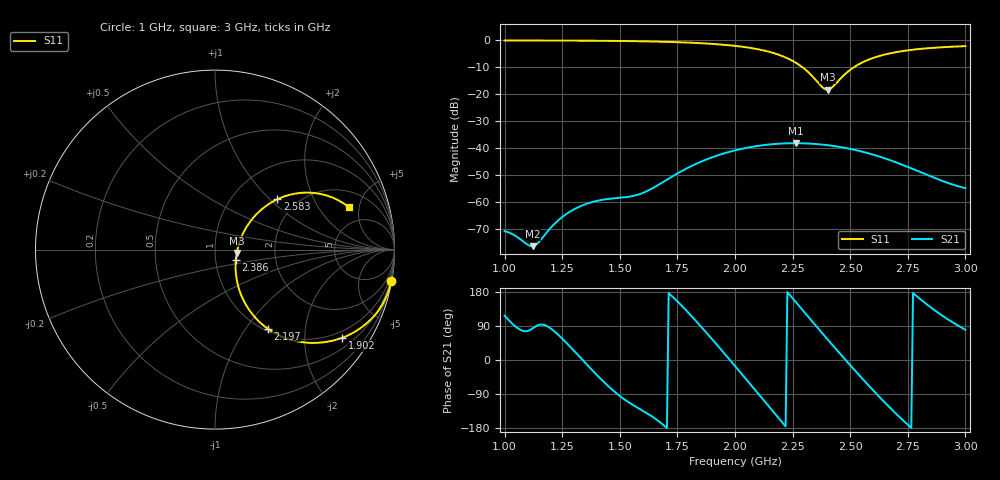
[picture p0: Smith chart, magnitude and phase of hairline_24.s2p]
! TOUCHSTONE file generated by CST MICROWAVE STUDIO
! Date and time: Tue Mar 18 20:31:45 2025
! Project name: hairline.cst
! Parameters = {B=12.5; D=160; F=25; Feed=2.85625; Fracture=2; L=100; M=50; R=0.384908; S=1.5; Theta=90; length=57.125; wave=114.25}
! Header version: 2024
! Port assignment regex: !\s*Touchstone port\s*([0-9]+)\s*=\s*(CST MWS port|CST DES external port|CST DES block port)\s*(.+)\s* \(\"(.*)\"\)(\s*mode\s*([0-9]+))?.*
! Touchstone port assignment:
! Touchstone port 1 = CST MWS port 1 ("")
! Touchstone port 2 = CST MWS port 2 ("")
# GHz S DB R 50
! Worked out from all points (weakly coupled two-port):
!   265 points, 1 GHz to 3 GHz, reference 50 ohm
!   highest |S21| = -38.09 dB at 2.265 GHz (marker M1); lowest = -76.2 dB at 1.121 GHz (marker M2)
!   lowest |S11| = -18.2 dB at 2.402 GHz (marker M3), VSWR 1.28, Z = 63.7 - j2.43 ohm
!   |S11| at or under -10 dB: 2.293 GHz to 2.515 GHz (221.7 MHz wide, 9.22 % of centre)
!   S12 and S22 are empty: the file has one direction only
!   S11 on the Smith chart (normalised r, x): 1 GHz: 0, -11; 1.902 GHz: 0.79, -3.01; 2.197 GHz: 1.04, -1.27; 2.386 GHz: 1.25, -0.14; 2.583 GHz: 1.59, +1.11; 3 GHz: 3.25, +3.95
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1  -0.02 -10.0  -70.61 116.9  -200.00 0.0  -200.00 0.0
1.12121  -0.03 -11.7  -76.23 83.2  -200.00 0.0  -200.00 0.0
1.14394  -0.04 -12.1  -75.12 91.6  -200.00 0.0  -200.00 0.0
1.24242  -0.06 -13.8  -65.96 61.1  -200.00 0.0  -200.00 0.0
1.34091  -0.10 -15.7  -61.01 -1.7  -200.00 0.0  -200.00 0.0
1.41667  -0.14 -17.3  -59.17 -49.5  -200.00 0.0  -200.00 0.0
1.56818  -0.28 -21.3  -57.41 -122.7  -200.00 0.0  -200.00 0.0
1.66667  -0.46 -24.5  -53.55 -160.5  -200.00 0.0  -200.00 0.0
1.79545  -0.80 -29.5  -47.20 126.2  -200.00 0.0  -200.00 0.0
1.90152  -1.29 -34.8  -43.28 54.3  -200.00 0.0  -200.00 0.0
2  -2.02 -40.7  -40.74 -15.8  -200.00 0.0  -200.00 0.0
2.10606  -3.38 -48.7  -39.00 -92.7  -200.00 0.0  -200.00 0.0
2.19697  -5.54 -56.3  -38.24 -158.7  -200.00 0.0  -200.00 0.0
2.26515  -8.34 -60.5  -38.09 152.0  -200.00 0.0  -200.00 0.0
2.34091  -13.74 -53.9  -38.32 97.6  -200.00 0.0  -200.00 0.0
2.38636  -17.80 -25.4  -38.66 65.3  -200.00 0.0  -200.00 0.0
2.40152  -18.22 -8.8  -38.81 54.6  -200.00 0.0  -200.00 0.0
2.50758  -10.45 40.4  -40.32 -18.9  -200.00 0.0  -200.00 0.0
2.58333  -7.01 38.9  -41.92 -69.4  -200.00 0.0  -200.00 0.0
2.66667  -4.90 33.7  -44.17 -122.3  -200.00 0.0  -200.00 0.0
2.81818  -3.04 24.8  -49.28 153.6  -200.00 0.0  -200.00 0.0
3  -2.12 17.5  -54.75 79.7  -200.00 0.0  -200.00 0.0
